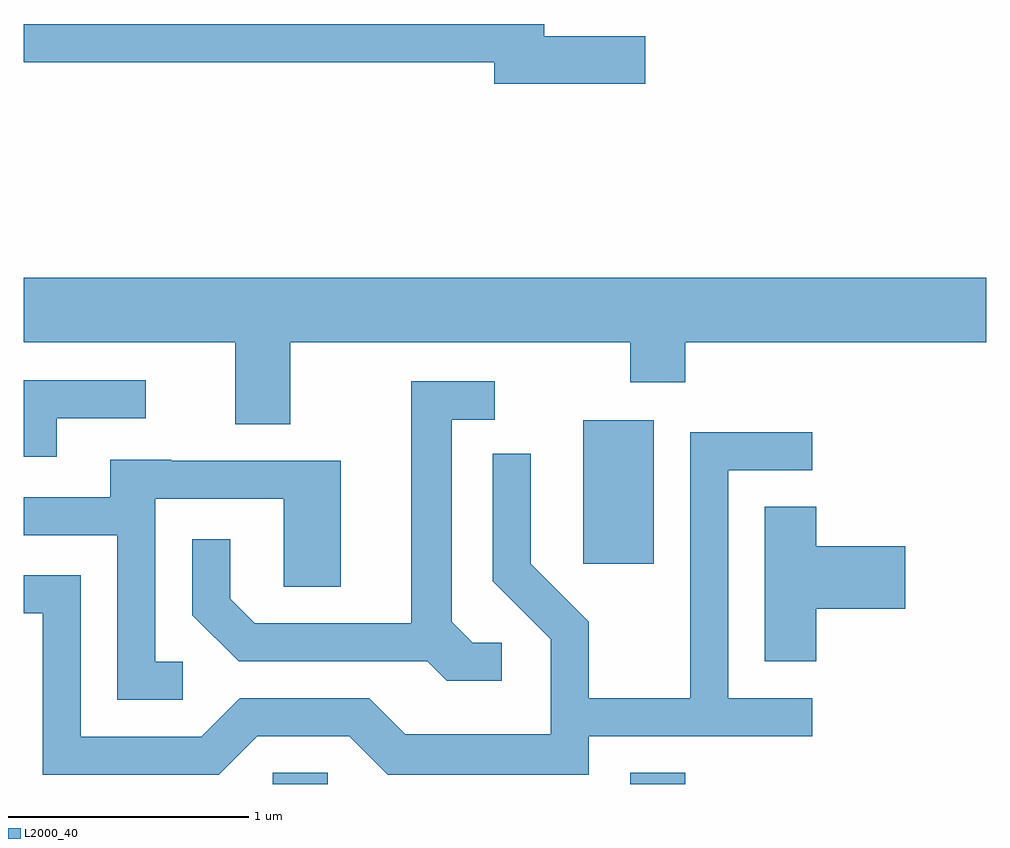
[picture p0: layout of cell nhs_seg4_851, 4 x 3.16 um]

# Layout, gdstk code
import gdstk
lib = gdstk.Library(unit=1e-6, precision=1e-09)
def R(c, l, rs):  # rectangles x0, y0, x1, y1
    for r in rs: c.add(gdstk.rectangle(r[:2], r[2:], *l))
def P(c, l, *ps):  # polygons
    for p in ps: c.add(gdstk.Polygon(p, *l))
L2000_40 = (2000, 40)

nhs_seg4_851 = lib.new_cell('nhs_seg4_851')
R(nhs_seg4_851, L2000_40, [(210.646,1323.982,210.874,1324.029), (212.131,1323.982,212.359,1324.029), (211.936,1324.896,212.229,1325.494)])
P(nhs_seg4_851, L2000_40, [(212.194,1327.089),(211.774,1327.089),(211.774,1327.139),(209.611,1327.139),(209.611,1326.981),(211.566,1326.981),(211.566,1326.891),(212.194,1326.891)],
  [(210.719,1325.816),(212.131,1325.816),(212.131,1325.651),(212.359,1325.651),(212.359,1325.816),(213.611,1325.816),(213.611,1326.084),(209.611,1326.084),(209.611,1325.816),(210.491,1325.816),(210.491,1325.476),(210.719,1325.476)],
  [(209.749,1325.501),(210.118,1325.501),(210.118,1325.659),(209.611,1325.659),(209.611,1325.341),(209.749,1325.341)],
  [(211.598,1324.569),(211.477,1324.569),(211.389,1324.657),(211.389,1325.496),(211.568,1325.496),(211.568,1325.654),(211.221,1325.654),(211.221,1324.649),(210.572,1324.649),(210.469,1324.752),(210.469,1324.998),(210.311,1324.998),(210.311,1324.684),(210.504,1324.491),(211.289,1324.491),(211.369,1324.411),(211.598,1324.411)],
  [(210.582,1324.181),(210.964,1324.181),(211.124,1324.021),(211.959,1324.021),(211.959,1324.181),(212.888,1324.181),(212.888,1324.339),(212.539,1324.339),(212.539,1325.286),(212.888,1325.286),(212.888,1325.444),(212.381,1325.444),(212.381,1324.339),(211.959,1324.339),(211.959,1324.657),(211.719,1324.897),(211.719,1325.353),(211.561,1325.353),(211.561,1324.824),(211.801,1324.584),(211.801,1324.189),(211.197,1324.189),(211.047,1324.339),(210.509,1324.339),(210.349,1324.179),(209.849,1324.179),(209.849,1324.849),(209.611,1324.849),(209.611,1324.691),(209.691,1324.691),(209.691,1324.021),(210.422,1324.021)],
  [(210.273,1324.489),(210.159,1324.489),(210.159,1325.166),(210.691,1325.166),(210.691,1324.801),(210.929,1324.801),(210.929,1325.324),(210.225,1325.324),(210.225,1325.329),(209.971,1325.329),(209.971,1325.174),(209.611,1325.174),(209.611,1325.016),(210.001,1325.016),(210.001,1324.331),(210.273,1324.331)],
  [(212.904,1324.711),(213.274,1324.711),(213.274,1324.969),(212.904,1324.969),(212.904,1325.134),(212.691,1325.134),(212.691,1324.491),(212.904,1324.491)])

lib.write_gds('nhs_seg4_851.gds')
